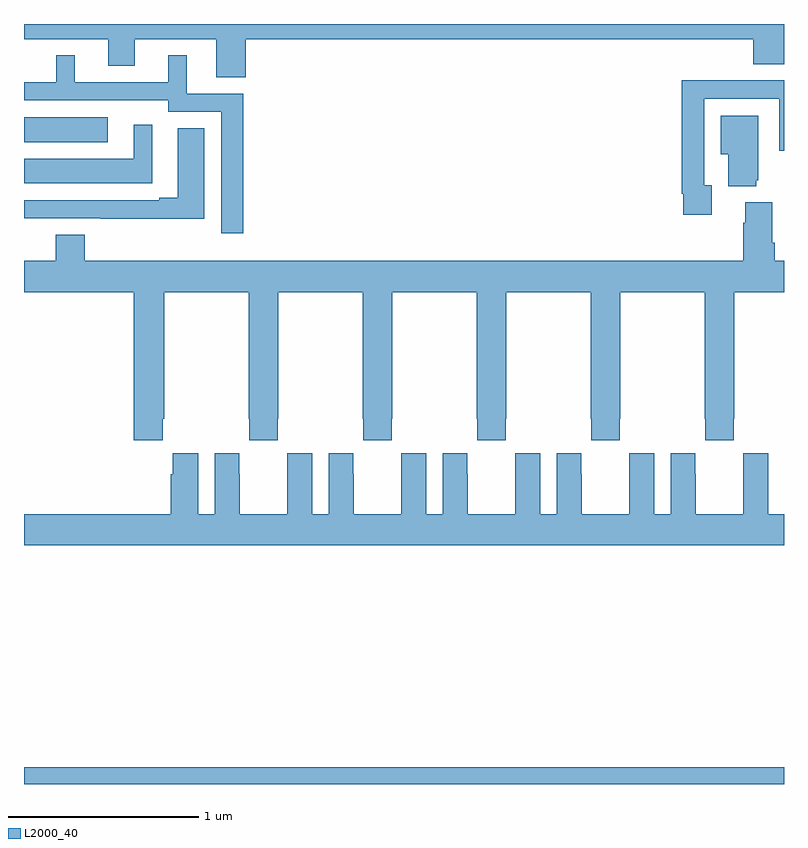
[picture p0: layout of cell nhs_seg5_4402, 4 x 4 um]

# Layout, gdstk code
import gdstk
lib = gdstk.Library(unit=1e-6, precision=1e-09)
def R(c, l, rs):  # rectangles x0, y0, x1, y1
    for r in rs: c.add(gdstk.rectangle(r[:2], r[2:], *l))
def P(c, l, *ps):  # polygons
    for p in ps: c.add(gdstk.Polygon(p, *l))
L2000_40 = (2000, 40)

nhs_seg5_4402 = lib.new_cell('nhs_seg5_4402')
R(nhs_seg5_4402, L2000_40, [(369,892.799,373,892.888), (369,896.177,369.442,896.308)])
P(nhs_seg5_4402, L2000_40, [(370.166,896.72),(372.839,896.72),(372.839,896.587),(373,896.587),(373,896.799),(369,896.799),(369,896.72),(369.443,896.72),(369.443,896.578),(369.583,896.578),(369.583,896.72),(370.013,896.72),(370.013,896.518),(370.166,896.518)],
  [(370.154,896.433),(369.856,896.433),(369.856,896.635),(369.758,896.635),(369.758,896.493),(369.268,896.493),(369.268,896.635),(369.17,896.635),(369.17,896.493),(369,896.493),(369,896.397),(369.759,896.397),(369.759,896.337),(370.038,896.337),(370.038,895.698),(370.154,895.698)],
  [(372.619,895.95),(372.579,895.95),(372.579,896.406),(372.975,896.406),(372.975,896.133),(373,896.133),(373,896.502),(372.755,896.502),(372.755,896.504),(372.463,896.504),(372.463,895.906),(372.471,895.906),(372.471,895.794),(372.619,895.794)],
  [(372.854,895.977),(372.865,895.977),(372.865,896.317),(372.668,896.317),(372.668,896.114),(372.707,896.114),(372.707,895.946),(372.854,895.946)],
  [(369.676,896.269),(369.578,896.269),(369.578,896.089),(369,896.089),(369,895.961),(369.676,895.961)],
  [(369.949,896.251),(369.809,896.251),(369.809,895.885),(369.713,895.885),(369.713,895.872),(369,895.872),(369,895.776),(369.403,895.776),(369.403,895.774),(369.949,895.774)],
  [(369.731,894.721),(369.738,894.721),(369.738,895.388),(370.183,895.388),(370.183,894.721),(370.185,894.721),(370.185,894.609),(370.335,894.609),(370.335,894.721),(370.338,894.721),(370.338,895.388),(370.783,895.388),(370.783,894.721),(370.785,894.721),(370.785,894.609),(370.935,894.609),(370.935,894.721),(370.938,894.721),(370.938,895.388),(371.383,895.388),(371.383,894.721),(371.385,894.721),(371.385,894.609),(371.535,894.609),(371.535,894.721),(371.538,894.721),(371.538,895.388),(371.983,895.388),(371.983,894.721),(371.985,894.721),(371.985,894.609),(372.135,894.609),(372.135,894.721),(372.138,894.721),(372.138,895.388),(372.583,895.388),(372.583,894.721),(372.585,894.721),(372.585,894.609),(372.735,894.609),(372.735,894.721),(372.738,894.721),(372.738,895.388),(373,895.388),(373,895.552),(372.95,895.552),(372.95,895.648),(372.937,895.648),(372.937,895.861),(372.797,895.861),(372.797,895.754),(372.785,895.754),(372.785,895.552),(369.32,895.552),(369.32,895.691),(369.167,895.691),(369.167,895.552),(369,895.552),(369,895.388),(369.578,895.388),(369.578,894.609),(369.731,894.609)],
  [(373,894.22),(372.916,894.22),(372.916,894.541),(372.786,894.541),(372.786,894.428),(372.785,894.428),(372.785,894.22),(372.535,894.22),(372.535,894.428),(372.534,894.428),(372.534,894.541),(372.404,894.541),(372.404,894.22),(372.316,894.22),(372.316,894.541),(372.186,894.541),(372.186,894.428),(372.185,894.428),(372.185,894.22),(371.935,894.22),(371.935,894.428),(371.934,894.428),(371.934,894.541),(371.804,894.541),(371.804,894.22),(371.716,894.22),(371.716,894.541),(371.586,894.541),(371.586,894.428),(371.585,894.428),(371.585,894.22),(371.335,894.22),(371.335,894.428),(371.334,894.428),(371.334,894.541),(371.204,894.541),(371.204,894.22),(371.116,894.22),(371.116,894.541),(370.986,894.541),(370.986,894.428),(370.985,894.428),(370.985,894.22),(370.735,894.22),(370.735,894.428),(370.734,894.428),(370.734,894.541),(370.604,894.541),(370.604,894.22),(370.516,894.22),(370.516,894.541),(370.386,894.541),(370.386,894.428),(370.385,894.428),(370.385,894.22),(370.135,894.22),(370.135,894.428),(370.134,894.428),(370.134,894.541),(370.004,894.541),(370.004,894.22),(369.916,894.22),(369.916,894.541),(369.782,894.541),(369.782,894.428),(369.773,894.428),(369.773,894.22),(369,894.22),(369,894.056),(373,894.056)])

lib.write_gds('nhs_seg5_4402.gds')
